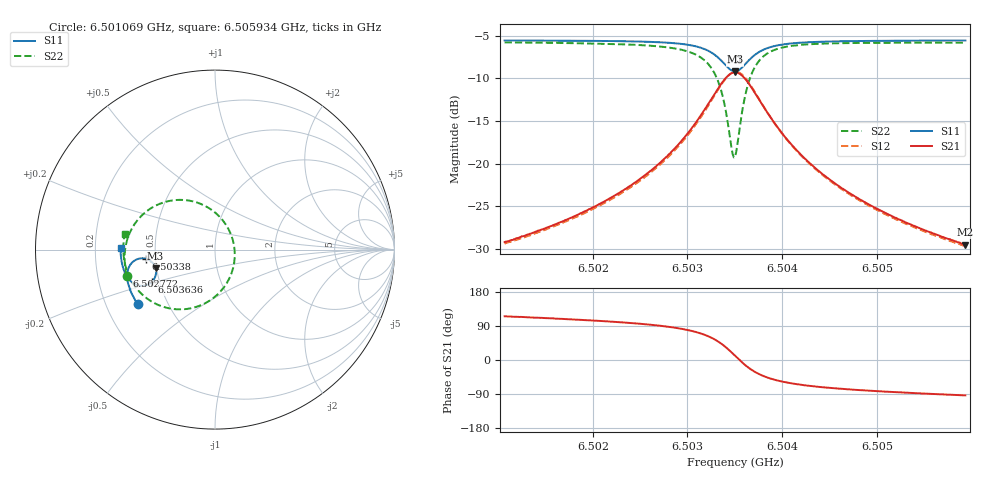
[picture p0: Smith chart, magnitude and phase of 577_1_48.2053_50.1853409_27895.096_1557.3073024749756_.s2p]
#  HZ  S  RI  R  50.00
! Rohde & Schwarz Vector Network Analyzer
! Rohde-Schwarz,ZNB20-2Port,1311601062101988,3.16
! Created: UTC 3/20/2024, 12:01:55 PM
! freq[Hz]  re:S11  im:S11  re:S21  im:S21  re:S12  im:S12  re:S22  im:S22
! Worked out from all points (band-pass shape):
!   401 points, 6.501069 GHz to 6.505934 GHz, reference 50 ohm
!   highest |S21| = -9.31 dB at 6.503502 GHz (marker M1); lowest = -29.5 dB at 6.505934 GHz (marker M2)
!   |S21| within 3 dB of the highest: 6.503259 GHz to 6.503746 GHz (486.9 kHz wide, 0.00749 % of centre)
!   lowest |S11| = -9.2 dB at 6.503502 GHz (marker M3), VSWR 2.06, Z = 24.7 - j5.74 ohm
!   |S11| at or under -10 dB: nowhere
!   |S22| runs from -19.3 to -5.8 dB; largest |S21 - S12| = 0.012
!   S11 on the Smith chart (normalised r, x): 6.501069 GHz: 0.34, -0.28; 6.502772 GHz: 0.33, -0.13; 6.50338 GHz: 0.44, -0.05; 6.503636 GHz: 0.45, -0.19; 6.505934 GHz: 0.31, +0.01
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6.5010691e9  -0.4316 -0.3023  -0.0149 0.0314  -0.0131 0.0313  -0.4923 -0.1451
6.501884e9  -0.4659 -0.241  -0.014 0.0496  -0.0114 0.0491  -0.5038 -0.0567
6.5023219e9  -0.481 -0.2015  -0.011 0.0688  -0.00808 0.0677  -0.5 0.00719
6.5026989e9  -0.4895 -0.1588  -0.00125 0.0998  0.00227 0.0974  -0.4786 0.085
6.5027719e9  -0.4899 -0.1487  0.00276 0.1087  0.00642 0.106  -0.4699 0.1044
6.5029787e9  -0.486 -0.1154  0.0243 0.1428  0.0279 0.1385  -0.425 0.1719
6.5031368e9  -0.4712 -0.0832  0.0641 0.179  0.0668 0.1733  -0.3478 0.2359
6.5032828e9  -0.433 -0.0533  0.1463 0.208  0.147 0.202  -0.1977 0.2772
6.5033314e9  -0.4115 -0.0485  0.1893 0.2067  0.1894 0.2012  -0.1227 0.2685
6.5033801e9  -0.3859 -0.0504  0.2384 0.1914  0.2387 0.1869  -0.0382 0.2339
6.5034652e9  -0.3425 -0.0799  0.3178 0.1163  0.3204 0.1124  0.0884 0.086
6.5035017e9  -0.3315 -0.1024  0.3356 0.0669  0.3395 0.0619  0.1095 -0.00621
6.503526e9  -0.3284 -0.1189  0.3393 0.0321  0.3434 0.0255  0.1073 -0.0705
6.5035625e9  -0.3307 -0.1432  0.3319 -0.0188  0.3358 -0.0274  0.0799 -0.1604
6.5036355e9  -0.353 -0.1809  0.2848 -0.096  0.2852 -0.1075  -0.0311 -0.2852
6.503745e9  -0.399 -0.2013  0.1968 -0.1419  0.1917 -0.1518  -0.2093 -0.3328
6.5039031e9  -0.4469 -0.192  0.1117 -0.1381  0.1048 -0.1434  -0.3622 -0.2838
6.5040734e9  -0.4751 -0.1705  0.0658 -0.1167  0.0595 -0.1191  -0.4367 -0.2166
6.5043167e9  -0.4962 -0.1407  0.0348 -0.0913  0.03 -0.0918  -0.4812 -0.1428
6.5046572e9  -0.5111 -0.1043  0.0162 -0.0683  0.0128 -0.0679  -0.5035 -0.0711
6.5051316e9  -0.5213 -0.0596  0.00532 -0.0498  0.00288 -0.0491  -0.5106 -0.00122
6.5059344e9  -0.5265 0.00897  -0.00193 -0.0335  -0.00327 -0.0327  -0.5034 0.0857
